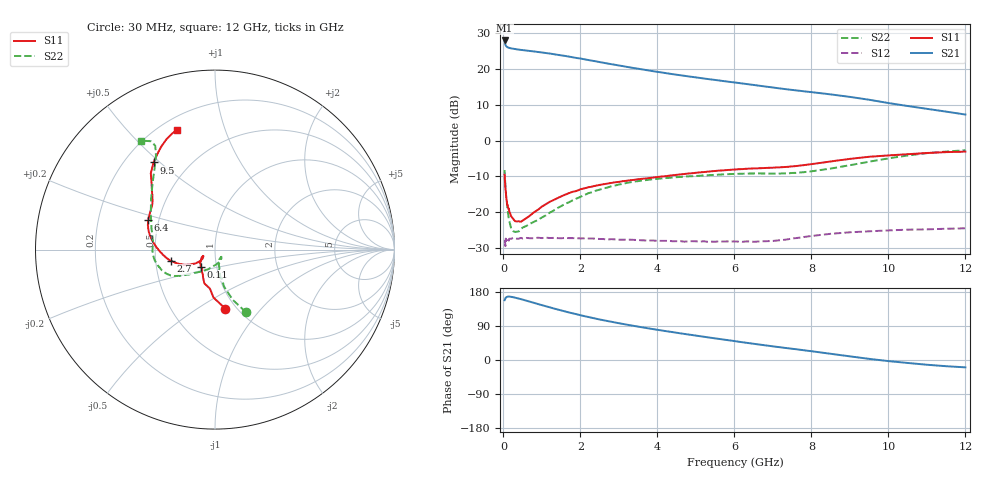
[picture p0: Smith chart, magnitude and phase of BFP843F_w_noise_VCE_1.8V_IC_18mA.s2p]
! Infineon Technologies  Discrete & RF Semiconductors
! BFP843F
! VCE =  1.8 V,  IC =  18 mA
! Common Emitter S-Parameters:  Aug 2013
# GHz  S  MA  R  50
!  f  S11  S21  S12  S22
! GHz  MAG  ANG  MAG  ANG  MAG  ANG  MAG  ANG
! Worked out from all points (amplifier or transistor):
!   103 points, 30 MHz to 12 GHz, reference 50 ohm
!   highest |S21| = 27.8 dB at 30 MHz (marker M1)
!   |S21| within 3 dB of that: start of sweep to 747.1 MHz
!   unconditionally stable (mu >= 1): 132.3 MHz to 148.6 MHz; 155.9 MHz to end of sweep
!   at 400 MHz: K = 1.02, MAG = 25.5 dB, |S12| = -27.3 dB
!   at 3.7 GHz: K = 1.22, MAG = 20.9 dB, |S12| = -27.8 dB
!   at 12 GHz: K = 1.24, MAG = 12.9 dB, |S12| = -24.4 dB
!   lowest NFmin = 0.88 dB at 450 MHz
!   S11 on the Smith chart (normalised r, x): 30 MHz: 0.89, -0.66; 110 MHz: 0.84, -0.17; 2.7 GHz: 0.60, -0.08; 6.4 GHz: 0.44, +0.17; 9.5 GHz: 0.32, +0.48; 12 GHz: 0.27, +0.70
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0.03  0.3346 -80.0  24.57 158.0  0.0394 28.5  0.3888 -63.7
0.04  0.2673 -91.8  22.67 159.8  0.04 20.1  0.2993 -70.3
0.05  0.2199 -97.3  21.47 163.0  0.034 20.6  0.2407 -74.0
0.06  0.1968 -107.7  20.95 164.3  0.0433 18.5  0.2104 -76.4
0.08  0.1518 -116.7  20.26 166.1  0.0414 14.6  0.1551 -79.0
0.11  0.1262 -128.5  19.75 167.2  0.0418 8.7  0.1081 -77.0
0.15  0.1044 -139.5  19.4 167.4  0.0431 8.1  0.0767 -71.9
0.25  0.0818 -150.6  18.86 165.7  0.0441 5.1  0.0552 -54.6
0.9  0.1092 -142.7  16.98 147.6  0.0446 1.9  0.0789 -80.6
1.3  0.1487 -147.7  15.87 136.2  0.0443 0.8  0.1059 -104.8
1.7  0.1855 -152.7  14.66 125.5  0.044 0.3  0.1383 -119.9
2.1  0.2161 -158.6  13.46 115.8  0.0436 -0.8  0.1741 -131.4
2.7  0.2519 -165.7  11.76 102.9  0.0419 -0.2  0.2223 -140.3
3.4  0.2844 -172.9  10.13 89.8  0.0416 0.5  0.269 -146.9
4.1  0.3159 -179.8  8.838 78.1  0.0403 2.6  0.2965 -152.5
5  0.3558 171.2  7.536 64.4  0.0397 5.9  0.3218 -160.7
6.1  0.3987 159.8  6.312 48.4  0.0393 10.9  0.3442 -172.8
6.4  0.4066 156.2  6.009 44.2  0.0396 12.9  0.348 -176.5
8.5  0.5116 133.7  4.375 16.4  0.0505 21.5  0.4073 151.5
9.5  0.5943 125.2  3.685 3.0  0.0547 19.6  0.5075 133.3
10.5  0.6451 117.9  3.016 -7.8  0.0577 17.9  0.6188 122.1
12  0.7002 107.7  2.295 -19.4  0.0602 19.5  0.7337 124.1
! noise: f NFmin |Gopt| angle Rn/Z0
0.45  0.88  0.03  174  0.07
0.9  0.88  0.04  164  0.08
1.5  0.92  0.05  160  0.09
1.9  0.96  0.06  161  0.09
2.4  1  0.08  167  0.1
3.5  1.05  0.11  175  0.15
5.5  1.15  0.2  -150  0.21
10  1.67  0.38  -106  0.32
